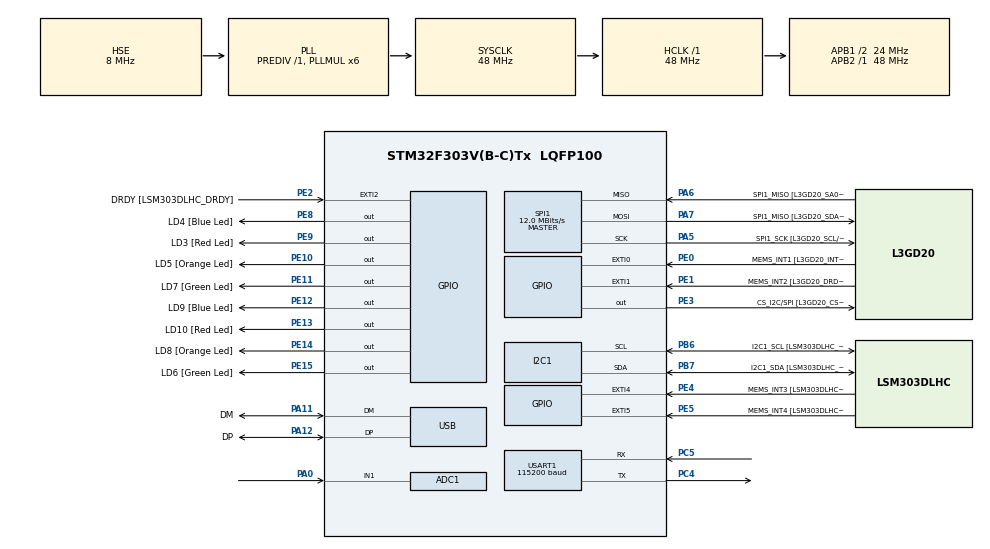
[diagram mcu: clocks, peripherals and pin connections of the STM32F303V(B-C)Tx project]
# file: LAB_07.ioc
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ADC1.Channel-0\#ChannelRegularConversion=ADC_CHANNEL_1
ADC1.ContinuousConvMode=ENABLE
ADC1.NbrOfConversionFlag=1
ADC1.Offset-0\#ChannelRegularConversion=0
ADC1.OffsetNumber-0\#ChannelRegularConversion=ADC_OFFSET_NONE
ADC1.Rank-0\#ChannelRegularConversion=1
ADC1.SamplingTime-0\#ChannelRegularConversion=ADC_SAMPLETIME_601CYCLES_5
ADC1.SamplingTimeOPAMP-0\#ChannelRegularConversion=ADC_SAMPLETIME_19CYCLES_5
ADC1.master=1
I2C1.Timing=0x00201D2B
I2C1.Timing-I2C=0x2000090E
Mcu.Family=STM32F3
Mcu.Name=STM32F303V(B-C)Tx
Mcu.Package=LQFP100
NVIC.ADC1_2_IRQn=true\:0\:0\:false\:false\:true\:true\:true\:true
NVIC.PriorityGroup=NVIC_PRIORITYGROUP_0
PA0.Mode=IN1-Single-Ended
PA0.Signal=ADC1_IN1
PA11.GPIO_Label=DM
PA11.Mode=Device
PA11.Signal=USB_DM
PA12.GPIO_Label=DP
PA12.Mode=Device
PA12.Signal=USB_DP
PA13.GPIO_Label=SWDIO
PA13.Mode=Serial_Wire
PA13.Signal=SYS_JTMS-SWDIO
PA14.GPIO_Label=SWCLK
PA14.Mode=Serial_Wire
PA14.Signal=SYS_JTCK-SWCLK
PA5.GPIO_Label=SPI1_SCK [L3GD20_SCL/SPC]
PA5.Mode=Full_Duplex_Master
PA5.Signal=SPI1_SCK
PA6.GPIO_Label=SPI1_MISO [L3GD20_SA0/SDO]
PA6.Mode=Full_Duplex_Master
PA6.Signal=SPI1_MISO
PA7.GPIO_Label=SPI1_MISO [L3GD20_SDA/SDI/SDO]
PA7.Mode=Full_Duplex_Master
PA7.Signal=SPI1_MOSI
PB3.GPIO_Label=SWO
PB3.Signal=SYS_JTDO-TRACESWO
PB6.GPIO_Label=I2C1_SCL [LSM303DLHC_SCL]
PB6.GPIO_Pu=GPIO_PULLUP
PB6.Mode=I2C
PB6.Signal=I2C1_SCL
PB7.GPIO_Label=I2C1_SDA [LSM303DLHC_SDA]
PB7.GPIO_Pu=GPIO_PULLUP
PB7.Mode=I2C
PB7.Signal=I2C1_SDA
PC14-OSC32_IN.GPIO_Label=OSC32_IN
PC14-OSC32_IN.Signal=RCC_OSC32_IN
PC15-OSC32_OUT.GPIO_Label=OSC32_OUT
PC15-OSC32_OUT.Signal=RCC_OSC32_OUT
PC4.Mode=Asynchronous
PC4.Signal=USART1_TX
PC5.Mode=Asynchronous
PC5.Signal=USART1_RX
PE0.GPIO_Label=MEMS_INT1 [L3GD20_INT1]
PE0.GPIO_ModeDefaultEXTI=GPIO_MODE_EVT_RISING
PE0.Signal=GPXTI0
PE1.GPIO_Label=MEMS_INT2 [L3GD20_DRDY/INT2]
PE1.GPIO_ModeDefaultEXTI=GPIO_MODE_EVT_RISING
PE1.Signal=GPXTI1
PE10.GPIO_Label=LD5 [Orange Led]
PE10.Signal=GPIO_Output
PE11.GPIO_Label=LD7 [Green Led]
PE11.Signal=GPIO_Output
PE12.GPIO_Label=LD9 [Blue Led]
PE12.Signal=GPIO_Output
PE13.GPIO_Label=LD10 [Red Led]
PE13.Signal=GPIO_Output
PE14.GPIO_Label=LD8 [Orange Led]
PE14.Signal=GPIO_Output
PE15.GPIO_Label=LD6 [Green Led]
PE15.Signal=GPIO_Output
PE2.GPIO_Label=DRDY [LSM303DLHC_DRDY]
PE2.GPIO_ModeDefaultEXTI=GPIO_MODE_EVT_RISING
PE2.Signal=GPXTI2
PE3.GPIO_Label=CS_I2C/SPI [L3GD20_CS_I2C/SPI]
PE3.Signal=GPIO_Output
PE4.GPIO_Label=MEMS_INT3 [LSM303DLHC_INT1]
PE4.GPIO_ModeDefaultEXTI=GPIO_MODE_EVT_RISING
PE4.Signal=GPXTI4
PE5.GPIO_Label=MEMS_INT4 [LSM303DLHC_INT2]
PE5.GPIO_ModeDefaultEXTI=GPIO_MODE_EVT_RISING
PE5.Signal=GPXTI5
PE8.GPIO_Label=LD4 [Blue Led]
PE8.Signal=GPIO_Output
PE9.GPIO_Label=LD3 [Red Led]
PE9.Signal=GPIO_Output
PF0-OSC_IN.GPIO_Label=OSC_IN
PF0-OSC_IN.Mode=HSE-External-Clock-Source
PF0-OSC_IN.Signal=RCC_OSC_IN
PF1-OSC_OUT.GPIO_Label=OSC_OUT
PF1-OSC_OUT.Signal=RCC_OSC_OUT
ProjectManager.HeapSize=0x200
ProjectManager.StackSize=0x400
ProjectManager.TargetToolchain=CMake
RCC.AHBFreq_Value=48000000
RCC.APB1CLKDivider=RCC_HCLK_DIV2
RCC.APB1Freq_Value=24000000
RCC.APB1TimFreq_Value=48000000
RCC.APB2Freq_Value=48000000
RCC.APB2TimFreq_Value=48000000
RCC.CortexFreq_Value=48000000
RCC.HCLKFreq_Value=48000000
RCC.HSE_VALUE=8000000
RCC.HSI_VALUE=8000000
RCC.LSE_VALUE=32768
RCC.PLLMUL=RCC_PLL_MUL6
RCC.SYSCLKFreq_VALUE=48000000
RCC.SYSCLKSourceVirtual=RCC_SYSCLKSOURCE_PLLCLK
RCC.USBFreq_Value=48000000
SPI1.BaudRatePrescaler=SPI_BAUDRATEPRESCALER_4
SPI1.BaudRatePrescaler-Full_Duplex_Master=SPI_BAUDRATEPRESCALER_2
SPI1.CalculateBaudRate=12.0 MBits/s
SPI1.CalculateBaudRate-Full_Duplex_Master=24.0 MBits/s
SPI1.Direction=SPI_DIRECTION_2LINES
SPI1.Mode=SPI_MODE_MASTER
SPI1.Mode-Full_Duplex_Master=SPI_MODE_MASTER
SPI1.VirtualType=VM_MASTER
STMicroelectronics.X-CUBE-ALGOBUILD.1.5.0.LibraryCcDSPOoLibraryJjDSPOoLibrary=true
USART1.BaudRate=115200
USART1.VirtualMode-Asynchronous=VM_ASYNC
VP_STMicroelectronics.X-CUBE-ALGOBUILD_VS_DSPOoLibraryJjLibrary_1.5.0_1.5.0.Mode=DSPOoLibraryJjLibrary
board=STM32F3DISCOVERY

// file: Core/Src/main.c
/* USER CODE BEGIN Header */
/**
  ******************************************************************************
  * @file           : main.c
  * @brief          : Main program body
  ******************************************************************************
  * @attention
  *
  * Copyright (c) 2026 STMicroelectronics.
  * All rights reserved.
  *
  * This software is licensed under terms that can be found in the LICENSE file
  * in the root directory of this software component.
  * If no LICENSE file comes with this software, it is provided AS-IS.
  *
  ******************************************************************************
  */
/* USER CODE END Header */
#include "main.h"

/* USER CODE BEGIN Includes */
#include "stdio.h"
#include "stm32f3xx_hal.h"
#include "stm32f3xx_hal_adc.h"
#include "stm32f3xx_hal_def.h"
#include "stm32f3xx_hal_uart.h"
#include "string.h"
#include <stdint.h>
#include "arm_math.h"
/* USER CODE END Includes */

ADC_HandleTypeDef hadc1;

I2C_HandleTypeDef hi2c1;

SPI_HandleTypeDef hspi1;

UART_HandleTypeDef huart1;

PCD_HandleTypeDef hpcd_USB_FS;

void SystemClock_Config(void);
static void MX_GPIO_Init(void);
static void MX_ADC1_Init(void);
static void MX_I2C1_Init(void);
static void MX_SPI1_Init(void);
static void MX_USART1_UART_Init(void);
static void MX_USB_PCD_Init(void);
/* USER CODE BEGIN PFP */
int _write(int file , char *ptr , int len) {
  HAL_UART_Transmit(&huart1, (uint8_t*) ptr, len, HAL_MAX_DELAY);
  return len;
}
/* USER CODE END PFP */

/* USER CODE BEGIN 0 */
#define FILTER_LEN 10

// TASK 2:
float32_t inputBuffer[FILTER_LEN];
float32_t output;
uint32_t idx = 0;

void apply_moving_average(float32_t new_sample) {
  inputBuffer[idx] = new_sample;
  idx = (idx+ 1) % FILTER_LEN;
  arm_mean_f32(inputBuffer, FILTER_LEN, &output);
}

//TASK 2: INTERRUPT
void HAL_ADC_ConvCpltCallback(ADC_HandleTypeDef *hadc) {
  if (hadc->Instance == ADC1) {
      uint32_t value = HAL_ADC_GetValue(&hadc1);
      apply_moving_average(((float32_t)value / 4095.0f) *3.3f);
      uint32_t filtered_int = (uint32_t)((output / 3.3f) * 4095.0f);
      printf("%lu,%lu\r\n", value, filtered_int);
  }
}

/* USER CODE END 0 */

int main(void)
{

  /* MCU Configuration--------------------------------------------------------*/

  /* Reset of all peripherals, Initializes the Flash interface and the Systick. */
  HAL_Init();

  /* Configure the system clock */
  SystemClock_Config();

  /* Initialize all configured peripherals */
  MX_GPIO_Init();
  MX_ADC1_Init();
  MX_I2C1_Init();
  MX_SPI1_Init();
  MX_USART1_UART_Init();
  MX_USB_PCD_Init();

  /* Infinite loop */
  /* USER CODE BEGIN WHILE */

  //TASK 1:
  char uart_buf[50];
  uint32_t adc_val = 0;

  //TASK 2: INTERRUPT
  // HAL_ADC_Start_IT(&hadc1);

  while (1)
  {
      //TASK 1:
      /* USER CODE END WHILE */
  // HAL_ADC_Start(&hadc1);
  //   if (HAL_ADC_PollForConversion(&hadc1, HAL_MAX_DELAY) == HAL_OK)
  //   {
  //     adc_val = HAL_ADC_GetValue(&hadc1);
  //   }
  //   HAL_ADC_Stop(&hadc1);

  //   sprintf(uart_buf, "ADC: %lu\r\n", adc_val);
  //   HAL_UART_Transmit(&huart1, (uint8_t*)uart_buf, strlen(uart_buf), HAL_MAX_DELAY);

  //   HAL_Delay(100);

  //BONUS TASK:
  HAL_ADC_Start(&hadc1);
    if (HAL_ADC_PollForConversion(&hadc1, HAL_MAX_DELAY) == HAL_OK)
    {
      adc_val = HAL_ADC_GetValue(&hadc1);
    }
    HAL_ADC_Stop(&hadc1);

    // 2. Convert Raw ADC to Voltage (0.0V to 3.3V)
    float voltage = (float)adc_val * (3.3f / 4095.0f);

    // 3. Convert Voltage to Distance
    // NOTE: Adjust this formula based on your specific sensor's datasheet or calibration curve!
    // Example 1 (Inverse relationship common for IR sensors, e.g., K = 15.0):
    float distance_cm = 0.0f;
    if (voltage > 0.1f) {  // Prevent division by zero
        distance_cm = 15.0f / voltage;
    }

    // Example 2 (If your sensor is linear, use something like: float distance_cm = voltage * scaling_factor; )

    // 4. Print Raw ADC, Voltage (multiplied by 1000 for mV to avoid float printing issues), and Distance
    // Multiplying by 1000 and casting to int prevents needing extra float linker flags for printf
    int voltage_mv = (int)(voltage * 1000.0f);
    int distance_mm = (int)(distance_cm * 10.0f); // distance in millimeters as integer

    // Output format: Raw_ADC, Voltage_mV, Distance_mm
    printf("Raw: %lu, Voltage: %d mV, Distance: %d mm\r\n", adc_val, voltage_mv, distance_mm);

    HAL_Delay(200);

  //TASK 2: POLLING
  // TASK 2a:
    // HAL_ADC_Start(&hadc1);
    // if (HAL_ADC_PollForConversion(&hadc1, 10) == HAL_OK) {
    //   uint32_t value = HAL_ADC_GetValue(&hadc1);
    //   apply_moving_average(((float32_t)value / 4095.0f) *3.3f);
    //   uint32_t filtered_int = (uint32_t)((output / 3.3f) * 4095.0f);
    //   printf("%lu,%lu\r\n", value, filtered_int);
    // }
    // HAL_ADC_Stop(&hadc1);
  }
}

void SystemClock_Config(void)
{
  RCC_OscInitTypeDef RCC_OscInitStruct = {0};
  RCC_ClkInitTypeDef RCC_ClkInitStruct = {0};
  RCC_PeriphCLKInitTypeDef PeriphClkInit = {0};

  /** Initializes the RCC Oscillators according to the specified parameters
  * in the RCC_OscInitTypeDef structure.
  */
  RCC_OscInitStruct.OscillatorType = RCC_OSCILLATORTYPE_HSI|RCC_OSCILLATORTYPE_HSE;
  RCC_OscInitStruct.HSEState = RCC_HSE_BYPASS;
  RCC_OscInitStruct.HSEPredivValue = RCC_HSE_PREDIV_DIV1;
  RCC_OscInitStruct.HSIState = RCC_HSI_ON;
  RCC_OscInitStruct.HSICalibrationValue = RCC_HSICALIBRATION_DEFAULT;
  RCC_OscInitStruct.PLL.PLLState = RCC_PLL_ON;
  RCC_OscInitStruct.PLL.PLLSource = RCC_PLLSOURCE_HSE;
  RCC_OscInitStruct.PLL.PLLMUL = RCC_PLL_MUL6;
  if (HAL_RCC_OscConfig(&RCC_OscInitStruct) != HAL_OK)
  {
    Error_Handler();
  }

  /** Initializes the CPU, AHB and APB buses clocks
  */
  RCC_ClkInitStruct.ClockType = RCC_CLOCKTYPE_HCLK|RCC_CLOCKTYPE_SYSCLK
                              |RCC_CLOCKTYPE_PCLK1|RCC_CLOCKTYPE_PCLK2;
  RCC_ClkInitStruct.SYSCLKSource = RCC_SYSCLKSOURCE_PLLCLK;
  RCC_ClkInitStruct.AHBCLKDivider = RCC_SYSCLK_DIV1;
  RCC_ClkInitStruct.APB1CLKDivider = RCC_HCLK_DIV2;
  RCC_ClkInitStruct.APB2CLKDivider = RCC_HCLK_DIV1;

  if (HAL_RCC_ClockConfig(&RCC_ClkInitStruct, FLASH_LATENCY_1) != HAL_OK)
  {
    Error_Handler();
  }
  PeriphClkInit.PeriphClockSelection = RCC_PERIPHCLK_USB|RCC_PERIPHCLK_USART1
                              |RCC_PERIPHCLK_I2C1|RCC_PERIPHCLK_ADC12;
  PeriphClkInit.Usart1ClockSelection = RCC_USART1CLKSOURCE_PCLK2;
  PeriphClkInit.Adc12ClockSelection = RCC_ADC12PLLCLK_DIV1;
  PeriphClkInit.I2c1ClockSelection = RCC_I2C1CLKSOURCE_HSI;
  PeriphClkInit.USBClockSelection = RCC_USBCLKSOURCE_PLL;
  if (HAL_RCCEx_PeriphCLKConfig(&PeriphClkInit) != HAL_OK)
  {
    Error_Handler();
  }
}

static void MX_ADC1_Init(void)
{

  ADC_MultiModeTypeDef multimode = {0};
  ADC_ChannelConfTypeDef sConfig = {0};

  /** Common config
  */
  hadc1.Instance = ADC1;
  hadc1.Init.ClockPrescaler = ADC_CLOCK_ASYNC_DIV1;
  hadc1.Init.Resolution = ADC_RESOLUTION_12B;
  hadc1.Init.ScanConvMode = ADC_SCAN_DISABLE;
  hadc1.Init.ContinuousConvMode = ENABLE;
  hadc1.Init.DiscontinuousConvMode = DISABLE;
  hadc1.Init.ExternalTrigConvEdge = ADC_EXTERNALTRIGCONVEDGE_NONE;
  hadc1.Init.ExternalTrigConv = ADC_SOFTWARE_START;
  hadc1.Init.DataAlign = ADC_DATAALIGN_RIGHT;
  hadc1.Init.NbrOfConversion = 1;
  hadc1.Init.DMAContinuousRequests = DISABLE;
  hadc1.Init.EOCSelection = ADC_EOC_SINGLE_CONV;
  hadc1.Init.LowPowerAutoWait = DISABLE;
  hadc1.Init.Overrun = ADC_OVR_DATA_OVERWRITTEN;
  if (HAL_ADC_Init(&hadc1) != HAL_OK)
  {
    Error_Handler();
  }

  /** Configure the ADC multi-mode
  */
  multimode.Mode = ADC_MODE_INDEPENDENT;
  if (HAL_ADCEx_MultiModeConfigChannel(&hadc1, &multimode) != HAL_OK)
  {
    Error_Handler();
  }

  /** Configure Regular Channel
  */
  sConfig.Channel = ADC_CHANNEL_2;
  sConfig.Rank = ADC_REGULAR_RANK_1;
  sConfig.SingleDiff = ADC_SINGLE_ENDED;
  sConfig.SamplingTime = ADC_SAMPLETIME_1CYCLE_5;
  sConfig.OffsetNumber = ADC_OFFSET_NONE;
  sConfig.Offset = 0;
  if (HAL_ADC_ConfigChannel(&hadc1, &sConfig) != HAL_OK)
  {
    Error_Handler();
  }

}

static void MX_I2C1_Init(void)
{

  hi2c1.Instance = I2C1;
  hi2c1.Init.Timing = 0x00201D2B;
  hi2c1.Init.OwnAddress1 = 0;
  hi2c1.Init.AddressingMode = I2C_ADDRESSINGMODE_7BIT;
  hi2c1.Init.DualAddressMode = I2C_DUALADDRESS_DISABLE;
  hi2c1.Init.OwnAddress2 = 0;
  hi2c1.Init.OwnAddress2Masks = I2C_OA2_NOMASK;
  hi2c1.Init.GeneralCallMode = I2C_GENERALCALL_DISABLE;
  hi2c1.Init.NoStretchMode = I2C_NOSTRETCH_DISABLE;
  if (HAL_I2C_Init(&hi2c1) != HAL_OK)
  {
    Error_Handler();
  }

  /** Configure Analogue filter
  */
  if (HAL_I2CEx_ConfigAnalogFilter(&hi2c1, I2C_ANALOGFILTER_ENABLE) != HAL_OK)
  {
    Error_Handler();
  }

  /** Configure Digital filter
  */
  if (HAL_I2CEx_ConfigDigitalFilter(&hi2c1, 0) != HAL_OK)
  {
    Error_Handler();
  }

}

static void MX_SPI1_Init(void)
{

  /* SPI1 parameter configuration*/
  hspi1.Instance = SPI1;
  hspi1.Init.Mode = SPI_MODE_MASTER;
  hspi1.Init.Direction = SPI_DIRECTION_2LINES;
  hspi1.Init.DataSize = SPI_DATASIZE_4BIT;
  hspi1.Init.CLKPolarity = SPI_POLARITY_LOW;
  hspi1.Init.CLKPhase = SPI_PHASE_1EDGE;
  hspi1.Init.NSS = SPI_NSS_SOFT;
  hspi1.Init.BaudRatePrescaler = SPI_BAUDRATEPRESCALER_4;
  hspi1.Init.FirstBit = SPI_FIRSTBIT_MSB;
  hspi1.Init.TIMode = SPI_TIMODE_DISABLE;
  hspi1.Init.CRCCalculation = SPI_CRCCALCULATION_DISABLE;
  hspi1.Init.CRCPolynomial = 7;
  hspi1.Init.CRCLength = SPI_CRC_LENGTH_DATASIZE;
  hspi1.Init.NSSPMode = SPI_NSS_PULSE_ENABLE;
  if (HAL_SPI_Init(&hspi1) != HAL_OK)
  {
    Error_Handler();
  }

}

static void MX_USART1_UART_Init(void)
{

  huart1.Instance = USART1;
  huart1.Init.BaudRate = 115200;
  huart1.Init.WordLength = UART_WORDLENGTH_8B;
  huart1.Init.StopBits = UART_STOPBITS_1;
  huart1.Init.Parity = UART_PARITY_NONE;
  huart1.Init.Mode = UART_MODE_TX_RX;
  huart1.Init.HwFlowCtl = UART_HWCONTROL_NONE;
  huart1.Init.OverSampling = UART_OVERSAMPLING_16;
  huart1.Init.OneBitSampling = UART_ONE_BIT_SAMPLE_DISABLE;
  huart1.AdvancedInit.AdvFeatureInit = UART_ADVFEATURE_NO_INIT;
  if (HAL_UART_Init(&huart1) != HAL_OK)
  {
    Error_Handler();
  }

}

static void MX_USB_PCD_Init(void)
{

  hpcd_USB_FS.Instance = USB;
  hpcd_USB_FS.Init.dev_endpoints = 8;
  hpcd_USB_FS.Init.speed = PCD_SPEED_FULL;
  hpcd_USB_FS.Init.phy_itface = PCD_PHY_EMBEDDED;
  hpcd_USB_FS.Init.low_power_enable = DISABLE;
  hpcd_USB_FS.Init.battery_charging_enable = DISABLE;
  if (HAL_PCD_Init(&hpcd_USB_FS) != HAL_OK)
  {
    Error_Handler();
  }

}

static void MX_GPIO_Init(void)
{
  GPIO_InitTypeDef GPIO_InitStruct = {0};

  /* GPIO Ports Clock Enable */
  __HAL_RCC_GPIOE_CLK_ENABLE();
  __HAL_RCC_GPIOC_CLK_ENABLE();
  __HAL_RCC_GPIOF_CLK_ENABLE();
  __HAL_RCC_GPIOA_CLK_ENABLE();
  __HAL_RCC_GPIOB_CLK_ENABLE();

  /*Configure GPIO pin Output Level */
  HAL_GPIO_WritePin(GPIOE, CS_I2C_SPI_Pin|LD4_Pin|LD3_Pin|LD5_Pin
                          |LD7_Pin|LD9_Pin|LD10_Pin|LD8_Pin
                          |LD6_Pin, GPIO_PIN_RESET);

  /*Configure GPIO pins : DRDY_Pin MEMS_INT3_Pin MEMS_INT4_Pin MEMS_INT1_Pin
                           MEMS_INT2_Pin */
  GPIO_InitStruct.Pin = DRDY_Pin|MEMS_INT3_Pin|MEMS_INT4_Pin|MEMS_INT1_Pin
                          |MEMS_INT2_Pin;
  GPIO_InitStruct.Mode = GPIO_MODE_EVT_RISING;
  GPIO_InitStruct.Pull = GPIO_NOPULL;
  HAL_GPIO_Init(GPIOE, &GPIO_InitStruct);

  /*Configure GPIO pins : CS_I2C_SPI_Pin LD4_Pin LD3_Pin LD5_Pin
                           LD7_Pin LD9_Pin LD10_Pin LD8_Pin
                           LD6_Pin */
  GPIO_InitStruct.Pin = CS_I2C_SPI_Pin|LD4_Pin|LD3_Pin|LD5_Pin
                          |LD7_Pin|LD9_Pin|LD10_Pin|LD8_Pin
                          |LD6_Pin;
  GPIO_InitStruct.Mode = GPIO_MODE_OUTPUT_PP;
  GPIO_InitStruct.Pull = GPIO_NOPULL;
  GPIO_InitStruct.Speed = GPIO_SPEED_FREQ_LOW;
  HAL_GPIO_Init(GPIOE, &GPIO_InitStruct);

}

void Error_Handler(void)
{
  __disable_irq();
  while (1)
  {
  }
}
